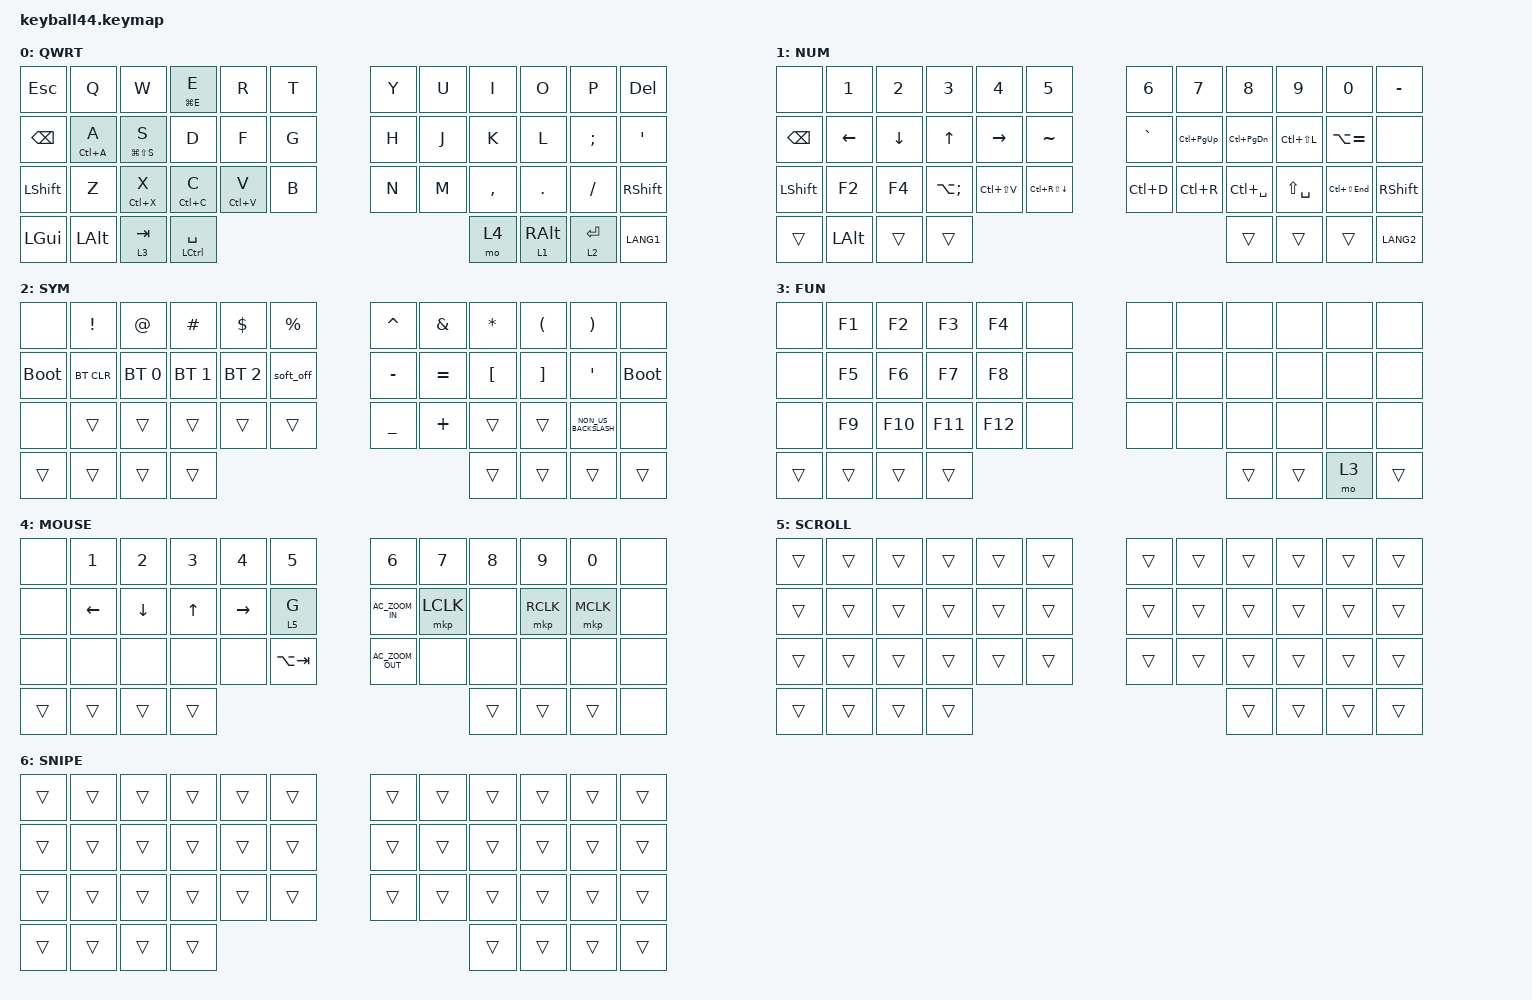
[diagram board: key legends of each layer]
#define DEFAULT 0
#define NUM     1
#define SYM     2
#define FUN     3
#define MOUSE   4
#define SCROLL  5
#define SNIPE   6

#include <behaviors/mouse_keys.dtsi>
#include <dt-bindings/zmk/mouse.h>
#include <behaviors.dtsi>
#include <dt-bindings/zmk/bt.h>
#include <dt-bindings/zmk/keys.h>
#include <dt-bindings/zmk/pointing.h>

&lt {
    tapping-term-ms = <300>;
    flavor = "tap-preferred";
    quick-tap-ms = <150>;
};

&mt {
    tapping-term-ms = <250>;
    flavor = "tap-preferred";
    quick-tap-ms = <150>;
};

&caps_word { continue-list = <UNDERSCORE MINUS>; };

/ {
    behaviors {
        cmqus: comma_question {
            compatible = "zmk,behavior-mod-morph";
            label = "COMMA_QUESTION";
            #binding-cells = <0>;
            bindings = <&kp COMMA>, <&kp QUESTION>;

            mods = <(MOD_LSFT|MOD_RSFT)>;
        };

        dtsmi: dot_semi {
            compatible = "zmk,behavior-mod-morph";
            label = "DOT_SEMI";
            #binding-cells = <0>;
            bindings = <&kp DOT>, <&kp SEMI>;

            mods = <(MOD_LSFT|MOD_RSFT)>;
        };
    };

    combos {
        compatible = "zmk,combos";

        bootloader {
            bindings = <&bootloader>;
            key-positions = <10 11>;
        };

        bootlaoder2 {
            bindings = <&bootloader>;
            key-positions = <12 13>;
        };
    };

    macros {
        zoomin: zoomin {
            compatible = "zmk,behavior-macro";
            #binding-cells = <0>;
            bindings = <&kp LCTRL &mmv MOVE_UP>;
            label = "ZOOMIN";
        };

        zoomout: zoomout {
            compatible = "zmk,behavior-macro";
            #binding-cells = <0>;
            bindings = <&kp LCTRL &mmv MOVE_DOWN>;
            label = "ZOOMOUT";
        };
    };

    keymap {
        compatible = "zmk,keymap";

        default_layer {
            label = "QWRT";
            bindings = <
&kp ESCAPE      &kp Q        &kp W            &mt LG(E) E      &kp R        &kp T                       &kp Y        &kp U  &kp I      &kp O    &kp P      &kp DELETE
&kp BACKSPACE   &mt LC(A) A  &mt LG(LS(S)) S  &kp D            &kp F        &kp G                       &kp H        &kp J  &kp K      &kp L    &kp SEMI   &kp SQT
&kp LEFT_SHIFT  &kp Z        &mt LC(X) X      &mt LC(C) C      &mt LC(V) V  &kp B                       &kp N        &kp M  &kp COMMA  &kp DOT  &kp SLASH  &kp RIGHT_SHIFT
&kp LGUI        &kp LALT     &lt 3 TAB        &mt LCTRL SPACE  &mo 4                   &lt 1 RIGHT_ALT  &lt 2 ENTER                                        &kp LANG1
            >;
        };

        number_layer {
            label = "NUM";
            bindings = <
&none           &kp NUMBER_1  &kp NUMBER_2  &kp NUMBER_3  &kp NUMBER_4   &kp NUMBER_5                        &kp NUMBER_6  &kp NUMBER_7     &kp NUMBER_8       &kp NUMBER_9   &kp NUMBER_0     &kp MINUS
&kp BACKSPACE   &kp LEFT      &kp DOWN      &kp UP_ARROW  &kp RIGHT      &kp TILDE                           &kp GRAVE     &kp LC(PAGE_UP)  &kp LC(PAGE_DOWN)  &kp LC(LS(L))  &kp LA(EQUAL)    &none
&kp LEFT_SHIFT  &kp F2        &kp F4        &kp LA(SEMI)  &kp LC(LS(V))  &kp LC(RS(DOWN_ARROW))              &kp LC(D)     &kp LC(R)        &kp LC(SPACE)      &kp LS(SPACE)  &kp LC(LS(END))  &kp RIGHT_SHIFT
&trans          &kp LEFT_ALT  &trans        &trans        &trans                                     &trans  &trans                                                                            &kp LANG2
            >;
        };

        symbol_layer {
            label = "SYM";
            bindings = <
&none        &kp EXCLAMATION  &kp AT_SIGN   &kp HASH      &kp DOLLAR    &kp PERCENT              &kp CARET       &kp AMPERSAND  &kp ASTERISK      &kp LEFT_PARENTHESIS  &kp RIGHT_PARENTHESIS  &none
&bootloader  &bt BT_CLR       &bt BT_SEL 0  &bt BT_SEL 1  &bt BT_SEL 2  &soft_off                &kp MINUS       &kp EQUAL      &kp LEFT_BRACKET  &kp RIGHT_BRACKET     &kp SQT                &bootloader
&none        &trans           &trans        &trans        &trans        &trans                   &kp UNDERSCORE  &kp PLUS       &trans            &trans                &kp NON_US_BACKSLASH   &none
&trans       &trans           &trans        &trans        &trans                         &trans  &trans                                                                                        &trans
            >;
        };

        function_layer {
            label = "FUN";
            bindings = <
&none   &kp F1  &kp F2   &kp F3   &kp F4   &none              &none  &none  &none  &none  &none  &none
&none   &kp F5  &kp F6   &kp F7   &kp F8   &none              &none  &none  &none  &none  &none  &none
&none   &kp F9  &kp F10  &kp F11  &kp F12  &none              &none  &none  &none  &none  &none  &none
&trans  &trans  &trans   &trans   &trans              &trans  &mo 3                              &trans
            >;
        };

        mouse_layer {
            label = "MOUSE";
            bindings = <
&none   &kp N1          &kp N2          &kp N3        &kp N4     &kp N5                   &kp N6             &kp N7     &kp N8  &kp N9     &kp N0     &none
&none   &kp LEFT_ARROW  &kp DOWN_ARROW  &kp UP_ARROW  &kp RIGHT  &lt 5 G                  &kp C_AC_ZOOM_IN   &mkp LCLK  &none   &mkp RCLK  &mkp MCLK  &none
&none   &none           &none           &none         &none      &kp LA(TAB)              &kp C_AC_ZOOM_OUT  &none      &none   &none      &none      &none
&trans  &trans          &trans          &trans        &trans                      &trans  &trans                                                      &none
            >;
        };

        scroll_layer {
            label = "SCROLL";
            bindings = <
&trans  &trans  &trans  &trans  &trans  &trans              &trans  &trans  &trans  &trans  &trans  &trans
&trans  &trans  &trans  &trans  &trans  &trans              &trans  &trans  &trans  &trans  &trans  &trans
&trans  &trans  &trans  &trans  &trans  &trans              &trans  &trans  &trans  &trans  &trans  &trans
&trans  &trans  &trans  &trans  &trans              &trans  &trans                                  &trans
            >;
        };

        snipe_layer {
            label = "SNIPE";
            bindings = <
&trans  &trans  &trans  &trans  &trans  &trans              &trans  &trans  &trans  &trans  &trans  &trans
&trans  &trans  &trans  &trans  &trans  &trans              &trans  &trans  &trans  &trans  &trans  &trans
&trans  &trans  &trans  &trans  &trans  &trans              &trans  &trans  &trans  &trans  &trans  &trans
&trans  &trans  &trans  &trans  &trans              &trans  &trans                                  &trans
            >;
        };
    };
};

#if defined(SHIELD_KEYBALL44_RIGHT)

&trackball { /delete-property/ automouse-layer; };

#endif
